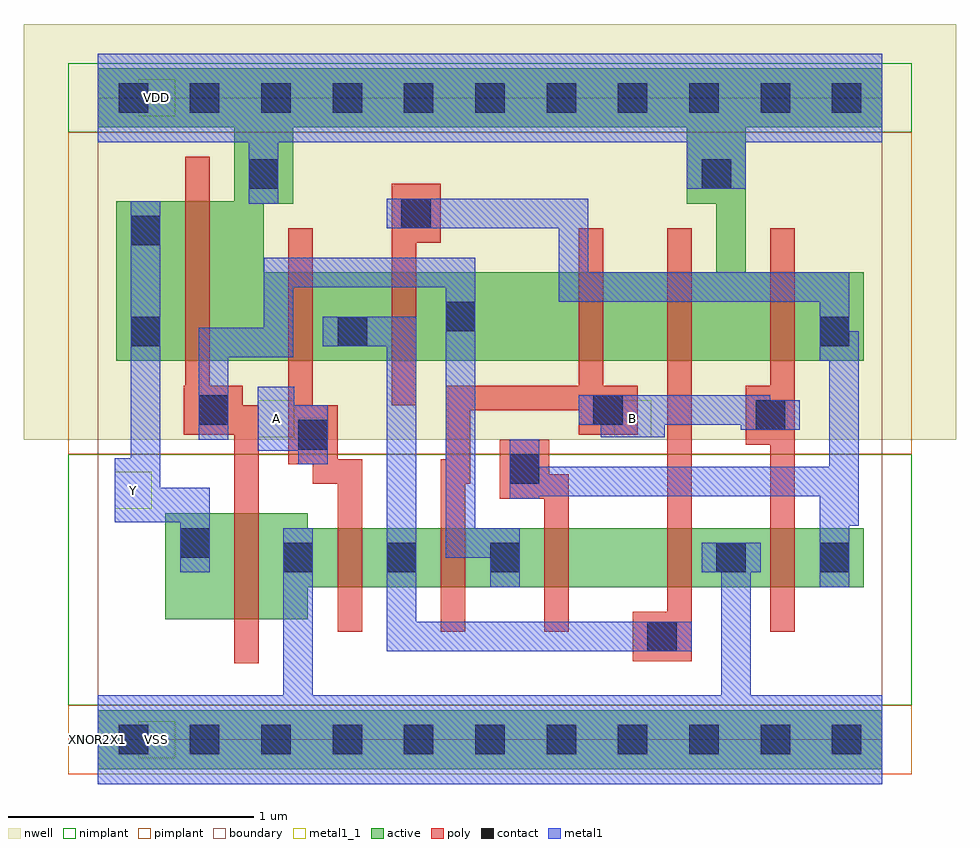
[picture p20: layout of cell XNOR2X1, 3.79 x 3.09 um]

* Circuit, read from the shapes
.subckt XNOR2X1 A B VDD VSS Y
M1 VSS n1 Y VSS nfet w=0.43u l=0.1u
M2 n2 A VSS VSS nfet w=0.24u l=0.1u
M3 n1 B n2 VSS nfet w=0.24u l=0.1u
M4 n3 n4 n1 VSS nfet w=0.24u l=0.1u
M5 VSS n2 n3 VSS nfet w=0.24u l=0.1u
M6 n4 B VSS VSS nfet w=0.24u l=0.1u
M7 VDD n1 Y VDD pfet w=0.65u l=0.1u
M8 n2 A VDD VDD pfet w=0.36u l=0.1u
M9 n1 n4 n2 VDD pfet w=0.36u l=0.1u
M10 n5 B n1 VDD pfet w=0.36u l=0.1u
M11 VDD n2 n5 VDD pfet w=0.36u l=0.1u
M12 n4 B VDD VDD pfet w=0.36u l=0.1u
.ends

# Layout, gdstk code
import gdstk
lib = gdstk.Library(unit=1e-6, precision=5e-10)
def R(c, l, rs):  # rectangles x0, y0, x1, y1
    for r in rs: c.add(gdstk.rectangle(r[:2], r[2:], *l))
def A(c, l, x, y, w, h, nx, ny, dx, dy):  # array of equal rectangles
    R(c, l, [(x+i*dx, y+j*dy, x+i*dx+w, y+j*dy+h) for i in range(nx) for j in range(ny)])
active = (1, 0)
nwell = (2, 0)
poly = (3, 0)
nimplant = (4, 0)
pimplant = (5, 0)
contact = (6, 0)
metal1 = (7, 0)
metal1_1 = (7, 1)
boundary = (62, 0)

xnor2x1 = lib.new_cell('XNOR2X1')
R(xnor2x1, active, [(0,-0.12,3.19,0.12), (0.275,0.49,0.855,0.62), (0.275,0.62,3.115,0.86), (0.275,0.86,0.855,0.92), (0.075,1.54,3.115,1.9), (0.075,1.9,0.675,2.18), (2.515,1.9,2.635,2.18), (0.075,2.18,0.795,2.19), (2.395,2.18,2.635,2.49), (0.555,2.19,0.795,2.49), (0,2.49,3.19,2.73)])
R(xnor2x1, nwell, [(-0.3,1.22,3.49,2.91)])
R(xnor2x1, poly, [(0.555,0.31,0.655,1.24), (2.175,0.32,2.415,0.52), (0.975,0.44,1.075,1.04), (1.395,0.44,1.495,1.04), (1.815,0.44,1.915,0.98), (2.735,0.44,2.835,1.2), (2.315,0.52,2.415,2.08), (1.635,0.98,1.915,1.08), (0.875,1.04,1.075,1.12), (1.395,1.04,1.515,1.14), (1.635,1.08,1.835,1.22), (0.775,1.12,1.075,1.14), (0.775,1.14,0.975,1.36), (1.415,1.14,1.515,1.34), (2.635,1.2,2.835,1.44), (0.35,1.24,0.655,1.36), (1.955,1.24,2.195,1.34), (1.415,1.34,2.195,1.44), (0.35,1.36,0.59,1.44), (0.775,1.36,0.875,2.08), (1.195,1.36,1.295,2.02), (0.355,1.44,0.455,2.37), (1.955,1.44,2.055,2.08), (2.735,1.44,2.835,2.08), (1.195,2.02,1.395,2.26)])
R(xnor2x1, nimplant, [(-0.12,0.14,3.31,1.16), (-0.12,2.47,3.31,2.75)])
R(xnor2x1, pimplant, [(-0.12,-0.14,3.31,0.14), (-0.12,1.16,3.31,2.47)])
A(xnor2x1, contact, 0.085, -0.06, 0.12, 0.12, 11, 2, 0.29, 2.61)
A(xnor2x1, contact, 0.755, 0.68, 0.12, 0.12, 3, 1, 0.42, 0)
R(xnor2x1, contact, [(2.235,0.36,2.355,0.48), (2.515,0.68,2.635,0.8), (2.935,0.68,3.055,0.8), (0.335,0.74,0.455,0.86), (1.675,1.04,1.795,1.16), (0.815,1.18,0.935,1.3), (2.675,1.26,2.795,1.38), (0.41,1.28,0.53,1.4), (2.015,1.28,2.135,1.4), (0.135,1.6,0.255,1.72), (0.975,1.6,1.095,1.72), (2.935,1.6,3.055,1.72), (1.415,1.66,1.535,1.78), (0.135,2.01,0.255,2.13), (1.235,2.08,1.355,2.2), (0.615,2.24,0.735,2.36), (2.455,2.24,2.575,2.36)])
R(xnor2x1, metal1, [(0,-0.18,3.19,0.18), (0.755,0.18,0.875,0.86), (2.535,0.18,2.655,0.68), (1.175,0.36,2.415,0.48), (1.175,0.48,1.295,1.6), (1.595,0.62,1.715,0.74), (2.935,0.62,3.055,0.87), (0.335,0.68,0.455,0.885), (2.455,0.68,2.695,0.8), (1.415,0.74,1.715,0.86), (1.415,0.86,1.535,1.84), (2.935,0.87,3.095,0.99), (0.07,0.885,0.455,1.025), (1.675,0.98,1.795,0.99), (1.675,0.99,3.095,1.11), (0.07,1.025,0.255,1.145), (1.675,1.11,1.795,1.22), (2.975,1.11,3.095,1.54), (0.815,1.12,0.935,1.175), (0.135,1.145,0.255,2.19), (0.65,1.175,0.935,1.36), (0.41,1.22,0.53,1.555), (2.045,1.23,2.305,1.28), (2.615,1.26,2.855,1.28), (1.955,1.28,2.855,1.38), (0.65,1.36,0.8,1.435), (1.955,1.38,2.735,1.4), (2.935,1.54,3.095,1.66), (0.41,1.555,0.795,1.675), (0.915,1.6,1.295,1.72), (2.935,1.66,3.055,1.78), (0.675,1.675,0.795,1.84), (1.875,1.78,3.055,1.9), (0.675,1.84,1.535,1.96), (1.875,1.9,1.995,2.08), (1.175,2.08,1.995,2.2), (0.615,2.18,0.735,2.43), (2.395,2.24,2.635,2.43), (0,2.43,3.19,2.79)])
R(xnor2x1, metal1_1, [(0.165,-0.075,0.315,0.075), (0.07,0.94,0.22,1.09), (0.65,1.23,0.8,1.38), (2.1,1.23,2.25,1.38), (0.165,2.535,0.315,2.685)])
R(xnor2x1, boundary, [(0,0,3.19,2.61)])
xnor2x1.add(gdstk.Label('XNOR2X1', (0,0), layer=63, texttype=0))
xnor2x1.add(gdstk.Label('VSS', (0.24,0), layer=7, texttype=3))
xnor2x1.add(gdstk.Label('VDD', (0.24,2.61), layer=7, texttype=3))
xnor2x1.add(gdstk.Label('A', (0.725,1.305), layer=7, texttype=3))
xnor2x1.add(gdstk.Label('B', (2.175,1.305), layer=7, texttype=3))
xnor2x1.add(gdstk.Label('Y', (0.145,1.015), layer=7, texttype=3))

lib.write_gds('XNOR2X1.gds')
